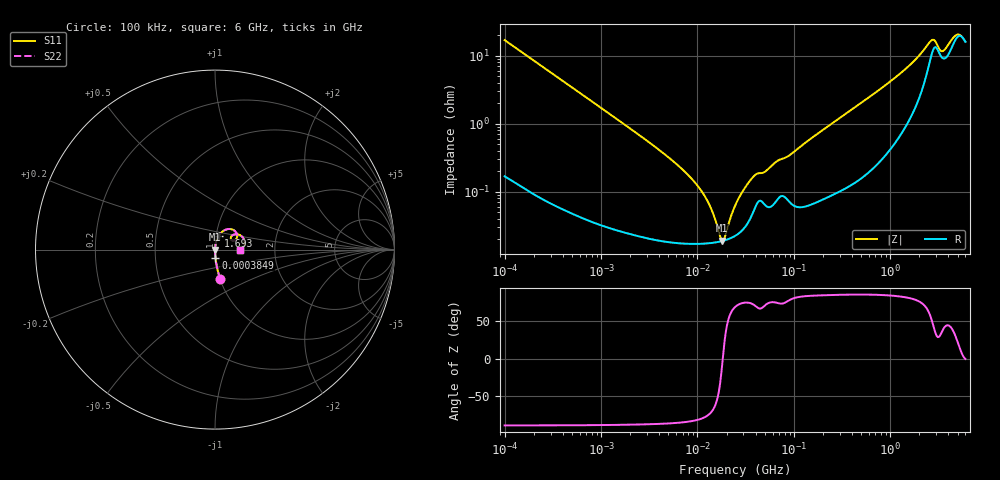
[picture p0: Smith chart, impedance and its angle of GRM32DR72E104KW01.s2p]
!Murata Part Number: GRM32DR72E104KW01
!These Parameters are Measured in Series Mode Connection
!Data Generated on Mar 30, 2021
!  o--ll--o
!Port1  Port2
!  o------o
!Operation Temp=25[degC], DC Bias Voltage=0[V]
!Freq. Start=100[kHz] Stop=6[GHz] 401[Steps]
# Hz S RI R 50
!Freq.(Hz) S11(Real) S11(Imag) S21(Real) S21(Imag) S12(Real) S12(Imag) S22(Real) S22(Imag)
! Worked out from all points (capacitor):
!   401 points, 100 kHz to 6 GHz, reference 50 ohm
!   read as one part in series: C = 94 nF near 105.7 kHz
!   lowest |Z| = 19.1 mohm at 18.1 MHz (marker M1)
!   series resonance near 18.29 MHz, so ESL is about 810 pH
!   S11 on the Smith chart (normalised r, x): 100 kHz: 1.00, -0.34; 384.9 kHz: 1.00, -0.09; 1.693 GHz: 1.03, +0.16; 6 GHz: 1.32, -0.00
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100000  0.0293 -0.1638  0.9707 0.1638  0.9707 0.1638  0.0293 -0.1638
384878  0.00252 -0.0441  0.9975 0.0441  0.9975 0.0441  0.00252 -0.0441
631452  0.00114 -0.027  0.9989 0.027  0.9989 0.027  0.00114 -0.027
3987316  0.000209 -0.00414  0.9998 0.00414  0.9998 0.00414  0.000209 -0.00414
7302625  0.000178 -0.002  0.9998 0.002  0.9998 0.002  0.000178 -0.002
1.073283e7  0.000174 -0.00107  0.9998 0.00107  0.9998 0.00107  0.000174 -0.00107
1.374747e7  0.000178 -0.000554  0.9998 0.000554  0.9998 0.000554  0.000178 -0.000554
1.713112e7  0.000187 -0.000126  0.9998 0.000126  0.9998 0.000126  0.000187 -0.000126
1.809991e7  0.00019 -2.01e-05  0.9998 2.01e-05  0.9998 2.01e-05  0.00019 -2.01e-05
1.912349e7  0.000194 8.62e-05  0.9998 -8.62e-05  0.9998 -8.62e-05  0.000194 8.62e-05
2.517799e7  0.000231 0.000637  0.9998 -0.000637  0.9998 -0.000637  0.000231 0.000637
3.137502e7  0.000309 0.00113  0.9997 -0.00113  0.9997 -0.00113  0.000309 0.00113
3.909733e7  0.000565 0.00164  0.9994 -0.00164  0.9994 -0.00164  0.000565 0.00164
5.007898e7  0.000646 0.00186  0.9994 -0.00186  0.9994 -0.00186  0.000646 0.00186
1.546735e8  0.000696 0.00621  0.9993 -0.00621  0.9993 -0.00621  0.000696 0.00621
9.76689e8  0.00564 0.0402  0.9944 -0.0402  0.9944 -0.0402  0.00564 0.0402
1.693027e9  0.0195 0.0751  0.9805 -0.0751  0.9805 -0.0751  0.0195 0.0751
2.628996e9  0.0997 0.1109  0.9003 -0.1109  0.9003 -0.1109  0.0997 0.1109
2.855131e9  0.1233 0.0825  0.8767 -0.0825  0.8767 -0.0825  0.1233 0.0825
3.461335e9  0.0884 0.0581  0.9116 -0.0581  0.9116 -0.0581  0.0884 0.0581
4.814911e9  0.1561 0.0665  0.8439 -0.0665  0.8439 -0.0665  0.1561 0.0665
6e9  0.1377 -0.00109  0.8623 0.00109  0.8623 0.00109  0.1377 -0.00109
